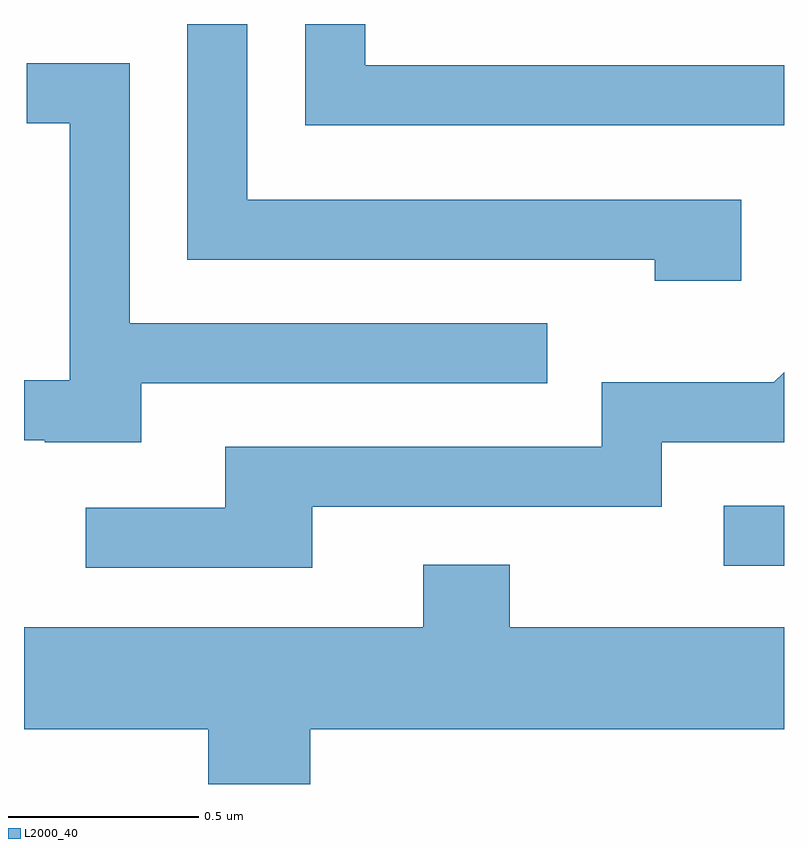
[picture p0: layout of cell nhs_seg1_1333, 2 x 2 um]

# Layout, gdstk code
import gdstk
lib = gdstk.Library(unit=1e-6, precision=1e-09)
def R(c, l, rs):  # rectangles x0, y0, x1, y1
    for r in rs: c.add(gdstk.rectangle(r[:2], r[2:], *l))
def P(c, l, *ps):  # polygons
    for p in ps: c.add(gdstk.Polygon(p, *l))
L2000_40 = (2000, 40)

nhs_seg1_1333 = lib.new_cell('nhs_seg1_1333')
R(nhs_seg1_1333, L2000_40, [(196.453,953.286,196.611,953.444)])
P(nhs_seg1_1333, L2000_40, [(196.499,954.249),(195.199,954.249),(195.199,954.712),(195.041,954.712),(195.041,954.091),(196.271,954.091),(196.271,954.036),(196.499,954.036)],
  [(196.611,954.604),(195.509,954.604),(195.509,954.712),(195.351,954.712),(195.351,954.446),(196.611,954.446)],
  [(194.919,953.766),(195.988,953.766),(195.988,953.924),(194.889,953.924),(194.889,954.609),(194.618,954.609),(194.618,954.451),(194.731,954.451),(194.731,953.774),(194.611,953.774),(194.611,953.616),(194.665,953.616),(194.665,953.611),(194.919,953.611)],
  [(195.369,953.441),(196.289,953.441),(196.289,953.611),(196.611,953.611),(196.611,953.796),(196.584,953.769),(196.131,953.769),(196.131,953.599),(195.141,953.599),(195.141,953.439),(194.773,953.439),(194.773,953.281),(195.369,953.281)],
  [(195.364,952.856),(196.611,952.856),(196.611,953.124),(195.889,953.124),(195.889,953.289),(195.661,953.289),(195.661,953.124),(194.611,953.124),(194.611,952.856),(195.096,952.856),(195.096,952.712),(195.364,952.712)])

lib.write_gds('nhs_seg1_1333.gds')
